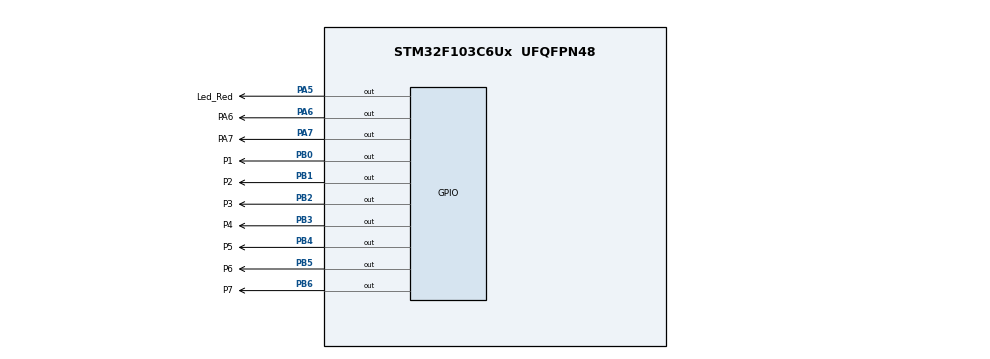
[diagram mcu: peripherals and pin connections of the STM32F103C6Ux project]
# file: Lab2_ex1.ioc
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Mcu.Family=STM32F1
Mcu.Name=STM32F103C6Ux
Mcu.Package=UFQFPN48
NVIC.PriorityGroup=NVIC_PRIORITYGROUP_4
NVIC.TIM2_IRQn=true\:0\:0\:false\:false\:true\:true\:true
PA5.GPIO_Label=Led_Red
PA5.Signal=GPIO_Output
PA6.GPIO_Label=PA6
PA6.Signal=GPIO_Output
PA7.GPIO_Label=PA7
PA7.Signal=GPIO_Output
PB0.GPIO_Label=P1
PB0.Signal=GPIO_Output
PB1.GPIO_Label=P2
PB1.Signal=GPIO_Output
PB2.GPIO_Label=P3
PB2.Signal=GPIO_Output
PB3.GPIO_Label=P4
PB3.Signal=GPIO_Output
PB4.GPIO_Label=P5
PB4.Signal=GPIO_Output
PB5.GPIO_Label=P6
PB5.Signal=GPIO_Output
PB6.GPIO_Label=P7
PB6.Signal=GPIO_Output
ProjectManager.HeapSize=0x200
ProjectManager.StackSize=0x400
ProjectManager.TargetToolchain=STM32CubeIDE
RCC.APB1Freq_Value=8000000
RCC.APB2Freq_Value=8000000
TIM2.Period=9
TIM2.Prescaler=9999
VP_SYS_VS_ND.Mode=No_Debug
VP_TIM2_VS_ClockSourceINT.Mode=Internal
board=custom

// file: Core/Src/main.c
/* USER CODE BEGIN Header */
/**
  ******************************************************************************
  * @file           : main.c
  * @brief          : Main program body
  ******************************************************************************
  * @attention
  *
  * <h2><center>&copy; Copyright (c) 2022 STMicroelectronics.
  * All rights reserved.</center></h2>
  *
  * This software component is licensed by ST under BSD 3-Clause license,
  * the "License"; You may not use this file except in compliance with the
  * License. You may obtain a copy of the License at:
  *                        opensource.org/licenses/BSD-3-Clause
  *
  ******************************************************************************
  */
/* USER CODE END Header */
#include "main.h"
#include "Software_timer.h"

TIM_HandleTypeDef htim2;

void SystemClock_Config(void);
static void MX_GPIO_Init(void);
static void MX_TIM2_Init(void);

int main(void)
{

  /* MCU Configuration--------------------------------------------------------*/

  /* Reset of all peripherals, Initializes the Flash interface and the Systick. */
  HAL_Init();

  /* Configure the system clock */
  SystemClock_Config();

  /* Initialize all configured peripherals */
  MX_GPIO_Init();
  MX_TIM2_Init();
  /* USER CODE BEGIN 2 */
  HAL_TIM_Base_Start_IT(&htim2);
  /* USER CODE END 2 */

  /* Infinite loop */
  /* USER CODE BEGIN WHILE */
  SetTimer1(50);
  SetTimer2(100);

  while (1)
  {
    /* USER CODE END WHILE */
	  if(timer_flag1 == 1){
		  SetTimer1(100);

	  }

  }
}

void SystemClock_Config(void)
{
  RCC_OscInitTypeDef RCC_OscInitStruct = {0};
  RCC_ClkInitTypeDef RCC_ClkInitStruct = {0};

  /** Initializes the RCC Oscillators according to the specified parameters
  * in the RCC_OscInitTypeDef structure.
  */
  RCC_OscInitStruct.OscillatorType = RCC_OSCILLATORTYPE_HSI;
  RCC_OscInitStruct.HSIState = RCC_HSI_ON;
  RCC_OscInitStruct.HSICalibrationValue = RCC_HSICALIBRATION_DEFAULT;
  RCC_OscInitStruct.PLL.PLLState = RCC_PLL_NONE;
  if (HAL_RCC_OscConfig(&RCC_OscInitStruct) != HAL_OK)
  {
    Error_Handler();
  }
  /** Initializes the CPU, AHB and APB buses clocks
  */
  RCC_ClkInitStruct.ClockType = RCC_CLOCKTYPE_HCLK|RCC_CLOCKTYPE_SYSCLK
                              |RCC_CLOCKTYPE_PCLK1|RCC_CLOCKTYPE_PCLK2;
  RCC_ClkInitStruct.SYSCLKSource = RCC_SYSCLKSOURCE_HSI;
  RCC_ClkInitStruct.AHBCLKDivider = RCC_SYSCLK_DIV1;
  RCC_ClkInitStruct.APB1CLKDivider = RCC_HCLK_DIV1;
  RCC_ClkInitStruct.APB2CLKDivider = RCC_HCLK_DIV1;

  if (HAL_RCC_ClockConfig(&RCC_ClkInitStruct, FLASH_LATENCY_0) != HAL_OK)
  {
    Error_Handler();
  }
}

static void MX_TIM2_Init(void)
{

  TIM_ClockConfigTypeDef sClockSourceConfig = {0};
  TIM_MasterConfigTypeDef sMasterConfig = {0};

  htim2.Instance = TIM2;
  htim2.Init.Prescaler = 9999;
  htim2.Init.CounterMode = TIM_COUNTERMODE_UP;
  htim2.Init.Period = 9;
  htim2.Init.ClockDivision = TIM_CLOCKDIVISION_DIV1;
  htim2.Init.AutoReloadPreload = TIM_AUTORELOAD_PRELOAD_DISABLE;
  if (HAL_TIM_Base_Init(&htim2) != HAL_OK)
  {
    Error_Handler();
  }
  sClockSourceConfig.ClockSource = TIM_CLOCKSOURCE_INTERNAL;
  if (HAL_TIM_ConfigClockSource(&htim2, &sClockSourceConfig) != HAL_OK)
  {
    Error_Handler();
  }
  sMasterConfig.MasterOutputTrigger = TIM_TRGO_RESET;
  sMasterConfig.MasterSlaveMode = TIM_MASTERSLAVEMODE_DISABLE;
  if (HAL_TIMEx_MasterConfigSynchronization(&htim2, &sMasterConfig) != HAL_OK)
  {
    Error_Handler();
  }

}

static void MX_GPIO_Init(void)
{
  GPIO_InitTypeDef GPIO_InitStruct = {0};

  /* GPIO Ports Clock Enable */
  __HAL_RCC_GPIOA_CLK_ENABLE();
  __HAL_RCC_GPIOB_CLK_ENABLE();

  /*Configure GPIO pin Output Level */
  HAL_GPIO_WritePin(GPIOA, Led_Red_Pin|PA6_Pin|PA7_Pin, GPIO_PIN_RESET);

  /*Configure GPIO pin Output Level */
  HAL_GPIO_WritePin(GPIOB, P1_Pin|P2_Pin|P3_Pin|P4_Pin
                          |P5_Pin|P6_Pin|P7_Pin, GPIO_PIN_RESET);

  /*Configure GPIO pins : Led_Red_Pin PA6_Pin PA7_Pin */
  GPIO_InitStruct.Pin = Led_Red_Pin|PA6_Pin|PA7_Pin;
  GPIO_InitStruct.Mode = GPIO_MODE_OUTPUT_PP;
  GPIO_InitStruct.Pull = GPIO_NOPULL;
  GPIO_InitStruct.Speed = GPIO_SPEED_FREQ_LOW;
  HAL_GPIO_Init(GPIOA, &GPIO_InitStruct);

  /*Configure GPIO pins : P1_Pin P2_Pin P3_Pin P4_Pin
                           P5_Pin P6_Pin P7_Pin */
  GPIO_InitStruct.Pin = P1_Pin|P2_Pin|P3_Pin|P4_Pin
                          |P5_Pin|P6_Pin|P7_Pin;
  GPIO_InitStruct.Mode = GPIO_MODE_OUTPUT_PP;
  GPIO_InitStruct.Pull = GPIO_NOPULL;
  GPIO_InitStruct.Speed = GPIO_SPEED_FREQ_LOW;
  HAL_GPIO_Init(GPIOB, &GPIO_InitStruct);

}
void Enable(unsigned int n){
	switch(n){
	case 1:
		HAL_GPIO_WritePin ( PA6_GPIO_Port , PA6_Pin ,GPIO_PIN_RESET );
		HAL_GPIO_WritePin ( PA7_GPIO_Port , PA7_Pin ,GPIO_PIN_SET );
		break;
	case 2:
		HAL_GPIO_WritePin ( PA6_GPIO_Port , PA6_Pin ,GPIO_PIN_SET );
		HAL_GPIO_WritePin ( PA7_GPIO_Port , PA7_Pin ,GPIO_PIN_RESET );
		break;
	default:
		break;
	}
}
void Seven_seg(unsigned int a)
  {
	switch(a){
	case 1:
	{
		  	  HAL_GPIO_WritePin ( P1_GPIO_Port , P1_Pin ,GPIO_PIN_RESET );
		  	  HAL_GPIO_WritePin ( P2_GPIO_Port , P2_Pin ,GPIO_PIN_RESET );
		  	  HAL_GPIO_WritePin ( P3_GPIO_Port , P3_Pin ,GPIO_PIN_RESET );
		  	  HAL_GPIO_WritePin ( P4_GPIO_Port , P4_Pin ,GPIO_PIN_RESET );
		  	  HAL_GPIO_WritePin ( P5_GPIO_Port , P5_Pin ,GPIO_PIN_RESET );
		  	  HAL_GPIO_WritePin ( P6_GPIO_Port , P6_Pin ,GPIO_PIN_RESET );
		  	  HAL_GPIO_WritePin ( P7_GPIO_Port , P7_Pin ,GPIO_PIN_SET );
		  	  break;
	}
	case 2:
	{
		  	  HAL_GPIO_WritePin ( P1_GPIO_Port , P1_Pin ,GPIO_PIN_SET );
		  	  HAL_GPIO_WritePin ( P2_GPIO_Port , P2_Pin ,GPIO_PIN_RESET );
		  	  HAL_GPIO_WritePin ( P3_GPIO_Port , P3_Pin ,GPIO_PIN_RESET );
		  	  HAL_GPIO_WritePin ( P4_GPIO_Port , P4_Pin ,GPIO_PIN_SET );
		  	  HAL_GPIO_WritePin ( P5_GPIO_Port , P5_Pin ,GPIO_PIN_SET );
		  	  HAL_GPIO_WritePin ( P6_GPIO_Port , P6_Pin ,GPIO_PIN_SET );
		  	  HAL_GPIO_WritePin ( P7_GPIO_Port , P7_Pin ,GPIO_PIN_SET );
		  	break;
	}
	case 3:
	{
		  	  HAL_GPIO_WritePin ( P1_GPIO_Port , P1_Pin ,GPIO_PIN_RESET );
		  	  HAL_GPIO_WritePin ( P2_GPIO_Port , P2_Pin ,GPIO_PIN_RESET );
		  	  HAL_GPIO_WritePin ( P3_GPIO_Port , P3_Pin ,GPIO_PIN_SET );
		  	  HAL_GPIO_WritePin ( P4_GPIO_Port , P4_Pin ,GPIO_PIN_RESET );
		  	  HAL_GPIO_WritePin ( P5_GPIO_Port , P5_Pin ,GPIO_PIN_RESET );
		  	  HAL_GPIO_WritePin ( P6_GPIO_Port , P6_Pin ,GPIO_PIN_SET );
		  	  HAL_GPIO_WritePin ( P7_GPIO_Port , P7_Pin ,GPIO_PIN_RESET );
		  	break;
	}
	case 4:
	{
		  	  HAL_GPIO_WritePin ( P1_GPIO_Port , P1_Pin ,GPIO_PIN_RESET );
		  	  HAL_GPIO_WritePin ( P2_GPIO_Port , P2_Pin ,GPIO_PIN_RESET );
		  	  HAL_GPIO_WritePin ( P3_GPIO_Port , P3_Pin ,GPIO_PIN_RESET );
		  	  HAL_GPIO_WritePin ( P4_GPIO_Port , P4_Pin ,GPIO_PIN_RESET );
		  	  HAL_GPIO_WritePin ( P5_GPIO_Port , P5_Pin ,GPIO_PIN_SET );
		  	  HAL_GPIO_WritePin ( P6_GPIO_Port , P6_Pin ,GPIO_PIN_SET );
		  	  HAL_GPIO_WritePin ( P7_GPIO_Port , P7_Pin ,GPIO_PIN_RESET );
		  	break;
	}
	case 5:
	{
		  	  HAL_GPIO_WritePin ( P1_GPIO_Port , P1_Pin ,GPIO_PIN_SET );
		  	  HAL_GPIO_WritePin ( P2_GPIO_Port , P2_Pin ,GPIO_PIN_RESET );
		  	  HAL_GPIO_WritePin ( P3_GPIO_Port , P3_Pin ,GPIO_PIN_RESET );
		  	  HAL_GPIO_WritePin ( P4_GPIO_Port , P4_Pin ,GPIO_PIN_SET );
		  	  HAL_GPIO_WritePin ( P5_GPIO_Port , P5_Pin ,GPIO_PIN_SET );
		  	  HAL_GPIO_WritePin ( P6_GPIO_Port , P6_Pin ,GPIO_PIN_RESET );
		  	  HAL_GPIO_WritePin ( P7_GPIO_Port , P7_Pin ,GPIO_PIN_RESET );
		  	break;
	}
	case 6:
	{
		  	  HAL_GPIO_WritePin ( P1_GPIO_Port , P1_Pin ,GPIO_PIN_RESET );
		  	  HAL_GPIO_WritePin ( P2_GPIO_Port , P2_Pin ,GPIO_PIN_SET );
		  	  HAL_GPIO_WritePin ( P3_GPIO_Port , P3_Pin ,GPIO_PIN_RESET );
		  	  HAL_GPIO_WritePin ( P4_GPIO_Port , P4_Pin ,GPIO_PIN_RESET );
		  	  HAL_GPIO_WritePin ( P5_GPIO_Port , P5_Pin ,GPIO_PIN_SET );
		  	  HAL_GPIO_WritePin ( P6_GPIO_Port , P6_Pin ,GPIO_PIN_RESET );
		  	  HAL_GPIO_WritePin ( P7_GPIO_Port , P7_Pin ,GPIO_PIN_RESET );
		  	break;
	}
	case 7:
	{
		  	  HAL_GPIO_WritePin ( P1_GPIO_Port , P1_Pin ,GPIO_PIN_RESET );
		  	  HAL_GPIO_WritePin ( P2_GPIO_Port , P2_Pin ,GPIO_PIN_SET );
		  	  HAL_GPIO_WritePin ( P3_GPIO_Port , P3_Pin ,GPIO_PIN_RESET );
		  	  HAL_GPIO_WritePin ( P4_GPIO_Port , P4_Pin ,GPIO_PIN_RESET );
		  	  HAL_GPIO_WritePin ( P5_GPIO_Port , P5_Pin ,GPIO_PIN_RESET );
		  	  HAL_GPIO_WritePin ( P6_GPIO_Port , P6_Pin ,GPIO_PIN_RESET );
		  	  HAL_GPIO_WritePin ( P7_GPIO_Port , P7_Pin ,GPIO_PIN_RESET );
		  	break;
	}
	case 8:
	{
		  	  HAL_GPIO_WritePin ( P1_GPIO_Port , P1_Pin ,GPIO_PIN_RESET );
		  	  HAL_GPIO_WritePin ( P2_GPIO_Port , P2_Pin ,GPIO_PIN_RESET );
		  	  HAL_GPIO_WritePin ( P3_GPIO_Port , P3_Pin ,GPIO_PIN_RESET );
		  	  HAL_GPIO_WritePin ( P4_GPIO_Port , P4_Pin ,GPIO_PIN_SET );
		  	  HAL_GPIO_WritePin ( P5_GPIO_Port , P5_Pin ,GPIO_PIN_SET );
		  	  HAL_GPIO_WritePin ( P6_GPIO_Port , P6_Pin ,GPIO_PIN_SET );
		  	  HAL_GPIO_WritePin ( P7_GPIO_Port , P7_Pin ,GPIO_PIN_SET );
		  	break;
	}
	case 9:
	{
		  	  HAL_GPIO_WritePin ( P1_GPIO_Port , P1_Pin ,GPIO_PIN_RESET );
		  	  HAL_GPIO_WritePin ( P2_GPIO_Port , P2_Pin ,GPIO_PIN_RESET );
		  	  HAL_GPIO_WritePin ( P3_GPIO_Port , P3_Pin ,GPIO_PIN_RESET );
		  	  HAL_GPIO_WritePin ( P4_GPIO_Port , P4_Pin ,GPIO_PIN_RESET );
		  	  HAL_GPIO_WritePin ( P5_GPIO_Port , P5_Pin ,GPIO_PIN_RESET );
		  	  HAL_GPIO_WritePin ( P6_GPIO_Port , P6_Pin ,GPIO_PIN_RESET );
		  	  HAL_GPIO_WritePin ( P7_GPIO_Port , P7_Pin ,GPIO_PIN_RESET );
		  	break;
	}
	case 10:
	{
		  	  HAL_GPIO_WritePin ( P1_GPIO_Port , P1_Pin ,GPIO_PIN_RESET );
		  	  HAL_GPIO_WritePin ( P2_GPIO_Port , P2_Pin ,GPIO_PIN_RESET );
		  	  HAL_GPIO_WritePin ( P3_GPIO_Port , P3_Pin ,GPIO_PIN_RESET );
		  	  HAL_GPIO_WritePin ( P4_GPIO_Port , P4_Pin ,GPIO_PIN_RESET );
		  	  HAL_GPIO_WritePin ( P5_GPIO_Port , P5_Pin ,GPIO_PIN_SET );
		  	  HAL_GPIO_WritePin ( P6_GPIO_Port , P6_Pin ,GPIO_PIN_RESET );
		  	  HAL_GPIO_WritePin ( P7_GPIO_Port , P7_Pin ,GPIO_PIN_RESET );
		  	break;
	}
	}
}
/* USER CODE BEGIN 4 */
int j= 0;
int i = 1 ;
int counter = 50;
void HAL_TIM_PeriodElapsedCallback(TIM_HandleTypeDef * htim ){
	TimerRun();
	counter --;
	if(counter == 0){
		counter = 50;
	  if(j>1) j = 0;
	  Enable(++j);
	  if(i>2) i = 1;
	  Seven_seg(++i);
	}
}
/* USER CODE END 4 */

void Error_Handler(void)
{
  __disable_irq();
  while (1)
  {
  }
}

/************************ (C) COPYRIGHT STMicroelectronics *****END OF FILE****/
